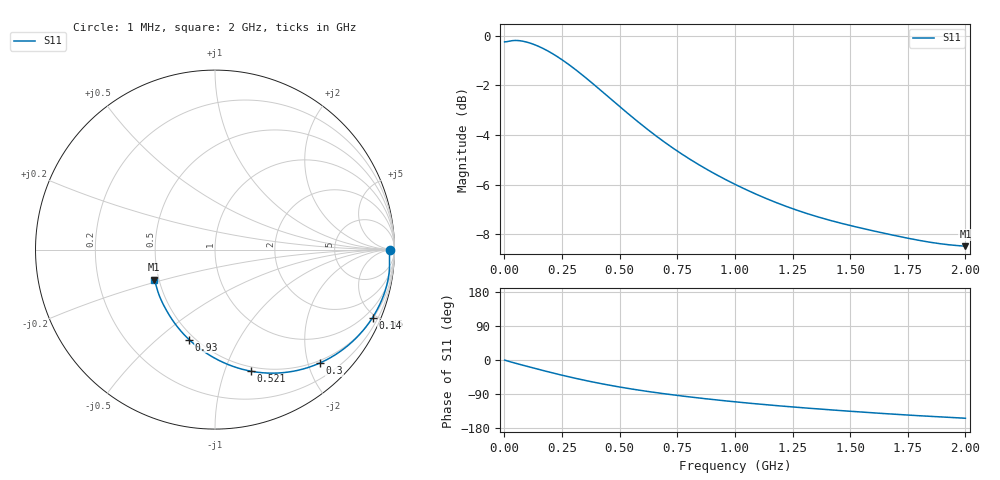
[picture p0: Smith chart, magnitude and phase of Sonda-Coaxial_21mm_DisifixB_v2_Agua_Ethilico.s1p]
! TOUCHSTONE file generated by CST MICROWAVE STUDIO
! Date and time: Sun Aug  2 21:23:19 2026
! Project name: Sonda-Coaxial_21mm_DisifixB_v2_Agua_Dest.cst
! Parameters = {h_recipiente=20; l_conector=5; r_arandela=35; r_ext=10.5; r_int=3; r_recipiente=50; z_recipiente=-25}
! Header version: 2018
! Port assignment regex: !\s*Touchstone port\s*([0-9]+)\s*=\s*(CST MWS port|CST DS port)\s*([0-9]+|Zmin|Zmax)\s*\(\"(.*)\"\)(\s*mode\s*([0-9]+))?.*
! Touchstone port assignment:
! Touchstone port 1 = CST MWS port 1 ("")
# GHz S RI R 50
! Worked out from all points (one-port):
!   2000 points, 1 MHz to 2 GHz, reference 50 ohm
!   lowest |S11| = -8.5 dB at 2 GHz (marker M1), VSWR 2.21, Z = 23.6 - j9.2 ohm
!   |S11| at or under -10 dB: nowhere
!   S11 on the Smith chart (normalised r, x): 1 MHz: 70, -8; 140 MHz: 0.54, -4.78; 300 MHz: 0.45, -2.21; 521 MHz: 0.46, -1.24; 930 MHz: 0.47, -0.64; 2 GHz: 0.47, -0.18
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0.001  0.9723 -0.00328
0.009  0.9726 -0.0293
0.037  0.9714 -0.114
0.067  0.9574 -0.1969
0.102  0.926 -0.2881
0.14  0.8776 -0.379
0.168  0.8345 -0.4391
0.196  0.7864 -0.4927
0.223  0.7366 -0.5378
0.251  0.6826 -0.5778
0.3  0.5855 -0.6314
0.345  0.497 -0.6635
0.392  0.4087 -0.6822
0.443  0.3199 -0.6884
0.501  0.2298 -0.6823
0.521  0.2014 -0.6777
0.575  0.1318 -0.661
0.63  0.0705 -0.6393
0.689  0.0142 -0.6133
0.751  -0.0361 -0.5847
0.837  -0.0938 -0.5445
0.93  -0.1437 -0.502
1.001  -0.1749 -0.4708
1.119  -0.2161 -0.4218
1.251  -0.2505 -0.3721
1.501  -0.295 -0.2918
1.751  -0.3217 -0.2226
2  -0.338 -0.1672
